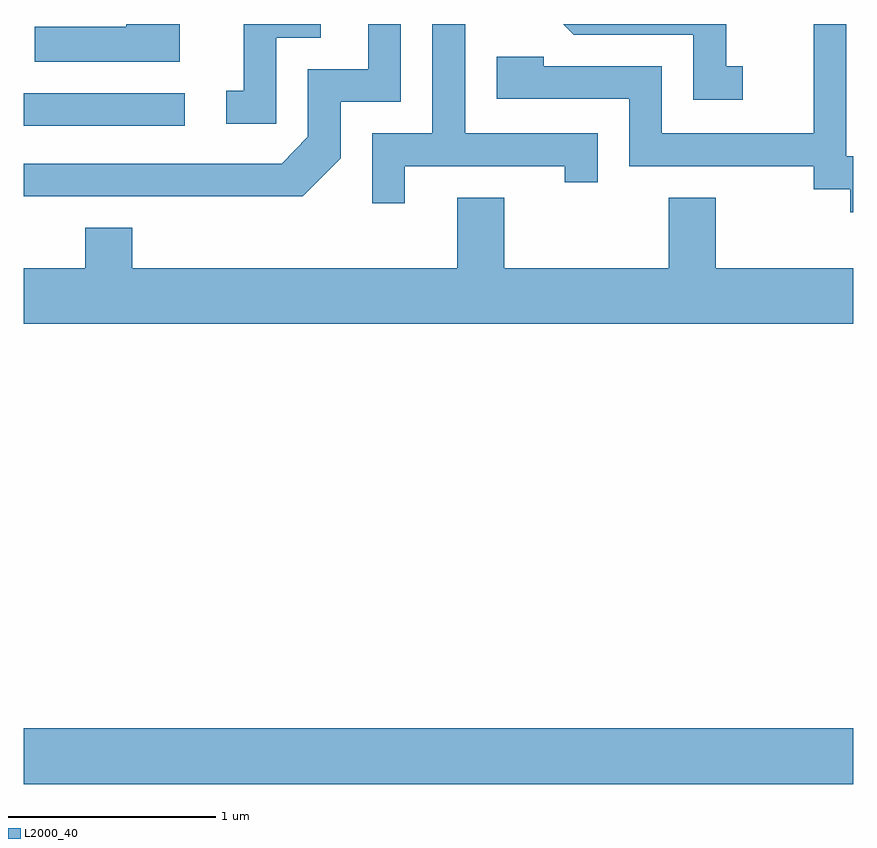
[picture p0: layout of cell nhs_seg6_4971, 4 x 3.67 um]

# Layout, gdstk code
import gdstk
lib = gdstk.Library(unit=1e-6, precision=1e-09)
def R(c, l, rs):  # rectangles x0, y0, x1, y1
    for r in rs: c.add(gdstk.rectangle(r[:2], r[2:], *l))
def P(c, l, *ps):  # polygons
    for p in ps: c.add(gdstk.Polygon(p, *l))
L2000_40 = (2000, 40)

nhs_seg6_4971 = lib.new_cell('nhs_seg6_4971')
R(nhs_seg6_4971, L2000_40, [(337.611,1534.496,341.611,1534.764), (337.611,1537.671,338.388,1537.829)])
P(nhs_seg6_4971, L2000_40, [(339.449,1537.476),(340.221,1537.476),(340.221,1537.398),(340.379,1537.398),(340.379,1537.634),(339.739,1537.634),(339.739,1538.162),(339.581,1538.162),(339.581,1537.634),(339.291,1537.634),(339.291,1537.298),(339.449,1537.298)],
  [(341.078,1537.959),(340.999,1537.959),(340.999,1538.162),(340.213,1538.162),(340.264,1538.111),(340.841,1538.111),(340.841,1537.796),(341.078,1537.796)],
  [(339.139,1537.514),(339.139,1537.786),(339.429,1537.786),(339.429,1538.162),(339.271,1538.162),(339.271,1537.944),(338.981,1537.944),(338.981,1537.617),(338.854,1537.489),(337.611,1537.489),(337.611,1537.331),(338.957,1537.331)],
  [(341.611,1537.524),(341.579,1537.524),(341.579,1538.162),(341.421,1538.162),(341.421,1537.634),(340.689,1537.634),(340.689,1537.959),(340.119,1537.959),(340.119,1538.004),(339.891,1538.004),(339.891,1537.801),(340.531,1537.801),(340.531,1537.476),(341.421,1537.476),(341.421,1537.366),(341.596,1537.366),(341.596,1537.253),(341.611,1537.253)],
  [(338.364,1538.162),(338.106,1538.162),(338.106,1538.149),(337.663,1538.149),(337.663,1537.981),(338.364,1537.981)],
  [(338.829,1538.096),(339.044,1538.096),(339.044,1538.162),(338.671,1538.162),(338.671,1537.839),(338.588,1537.839),(338.588,1537.681),(338.829,1537.681)],
  [(341.611,1536.984),(340.949,1536.984),(340.949,1537.324),(340.721,1537.324),(340.721,1536.984),(339.929,1536.984),(339.929,1537.324),(339.701,1537.324),(339.701,1536.984),(338.134,1536.984),(338.134,1537.179),(337.906,1537.179),(337.906,1536.984),(337.611,1536.984),(337.611,1536.716),(341.611,1536.716)])

lib.write_gds('nhs_seg6_4971.gds')
